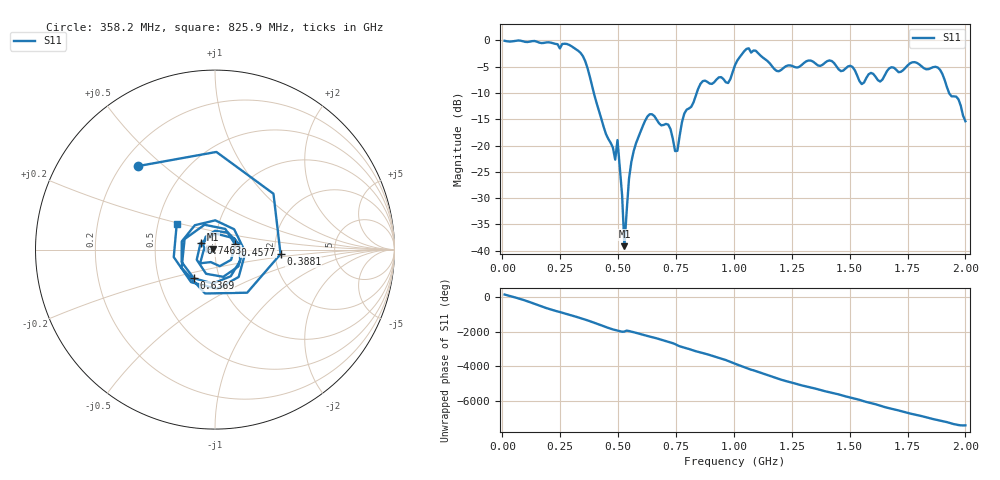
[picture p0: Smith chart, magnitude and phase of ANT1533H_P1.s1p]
!Created with skrf (http://scikit-rf.org).
# Hz S RI R 50.0
!freq ReS11 ImS11
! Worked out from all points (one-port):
!   201 points, 10 MHz to 2 GHz, reference 50 ohm
!   lowest |S11| = -39.1 dB at 527.4 MHz (marker M1), VSWR 1.02, Z = 49 + j0.349 ohm
!   |S11| at or under -10 dB: 395.4 MHz to 839.6 MHz (444.2 MHz wide, 71.9 % of centre); 1.93 GHz to end of sweep
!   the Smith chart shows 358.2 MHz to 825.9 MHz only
!   S11 on the Smith chart (normalised r, x): 358.2 MHz: 0.26, +0.41; 388.1 MHz: 2.15, -0.13; 457.8 MHz: 1.25, +0.07; 636.9 MHz: 0.75, -0.25; 746.3 MHz: 0.85, +0.06; 825.9 MHz: 0.63, +0.19
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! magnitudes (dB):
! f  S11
! 10 MHz  -0.1
! 258.8 MHz  -0.7
! 358.2 MHz  -4.0
! 388.1 MHz  -8.7
! 457.8 MHz  -18.7
! 487.6 MHz  -22.7
! 497.6 MHz  -19.0
! 507.5 MHz  -24.1
! 517.5 MHz  -29.5
! 527.4 MHz  -39.1
! 547.3 MHz  -26.3
! 557.2 MHz  -23.1
! 636.9 MHz  -14.0
! 716.5 MHz  -16.0
! 746.3 MHz  -21.1
! 756.2 MHz  -21.0
! 786.1 MHz  -13.9
! 825.9 MHz  -11.8
! 865.7 MHz  -7.7
! 975.1 MHz  -8.1
! 1.005 GHz  -4.7
! 1.065 GHz  -1.5
! 1.254 GHz  -4.9
! 1.502 GHz  -4.8
! 1.552 GHz  -8.3
! 1.751 GHz  -4.7
! 1.881 GHz  -5.2
! 2 GHz  -15.4
